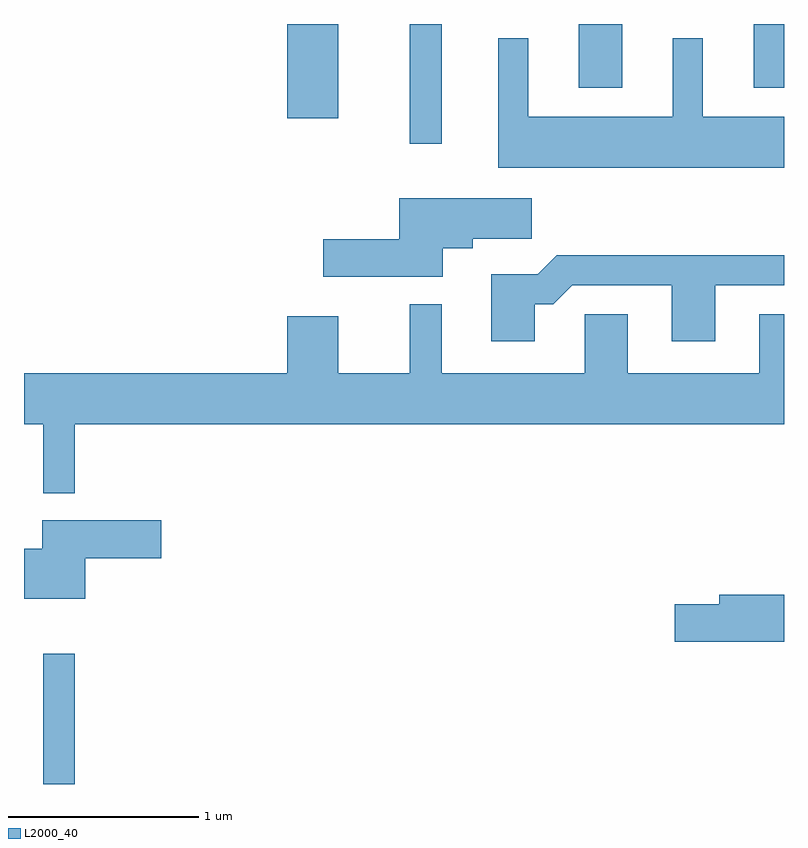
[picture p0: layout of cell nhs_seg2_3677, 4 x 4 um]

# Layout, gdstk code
import gdstk
lib = gdstk.Library(unit=1e-6, precision=1e-09)
def R(c, l, rs):  # rectangles x0, y0, x1, y1
    for r in rs: c.add(gdstk.rectangle(r[:2], r[2:], *l))
def P(c, l, *ps):  # polygons
    for p in ps: c.add(gdstk.Polygon(p, *l))
L2000_40 = (2000, 40)

nhs_seg2_3677 = lib.new_cell('nhs_seg2_3677')
R(nhs_seg2_3677, L2000_40, [(293.711,999.802,293.879,1000.488), (295.641,1003.173,295.809,1003.802), (294.996,1003.306,295.264,1003.802), (296.531,1003.466,296.759,1003.802), (297.451,1003.466,297.611,1003.802)])
P(nhs_seg2_3677, L2000_40, [(297.611,1003.314),(297.184,1003.314),(297.184,1003.728),(297.026,1003.728),(297.026,1003.314),(296.264,1003.314),(296.264,1003.728),(296.106,1003.728),(296.106,1003.046),(297.611,1003.046)],
  [(295.814,1002.621),(295.974,1002.621),(295.974,1002.671),(296.284,1002.671),(296.284,1002.884),(295.586,1002.884),(295.586,1002.669),(295.186,1002.669),(295.186,1002.471),(295.814,1002.471)],
  [(296.299,1002.326),(296.397,1002.326),(296.497,1002.426),(297.021,1002.426),(297.021,1002.131),(297.249,1002.131),(297.249,1002.426),(297.611,1002.426),(297.611,1002.584),(296.414,1002.584),(296.314,1002.484),(296.071,1002.484),(296.071,1002.131),(296.299,1002.131)],
  [(293.879,1001.696),(297.611,1001.696),(297.611,1002.274),(297.481,1002.274),(297.481,1001.964),(296.789,1001.964),(296.789,1002.274),(296.561,1002.274),(296.561,1001.964),(295.809,1001.964),(295.809,1002.328),(295.641,1002.328),(295.641,1001.964),(295.264,1001.964),(295.264,1002.264),(294.996,1002.264),(294.996,1001.964),(293.611,1001.964),(293.611,1001.696),(293.711,1001.696),(293.711,1001.333),(293.879,1001.333)],
  [(293.934,1000.991),(294.334,1000.991),(294.334,1001.189),(293.706,1001.189),(293.706,1001.039),(293.611,1001.039),(293.611,1000.776),(293.934,1000.776)],
  [(297.611,1000.799),(297.271,1000.799),(297.271,1000.749),(297.036,1000.749),(297.036,1000.551),(297.611,1000.551)])

lib.write_gds('nhs_seg2_3677.gds')
